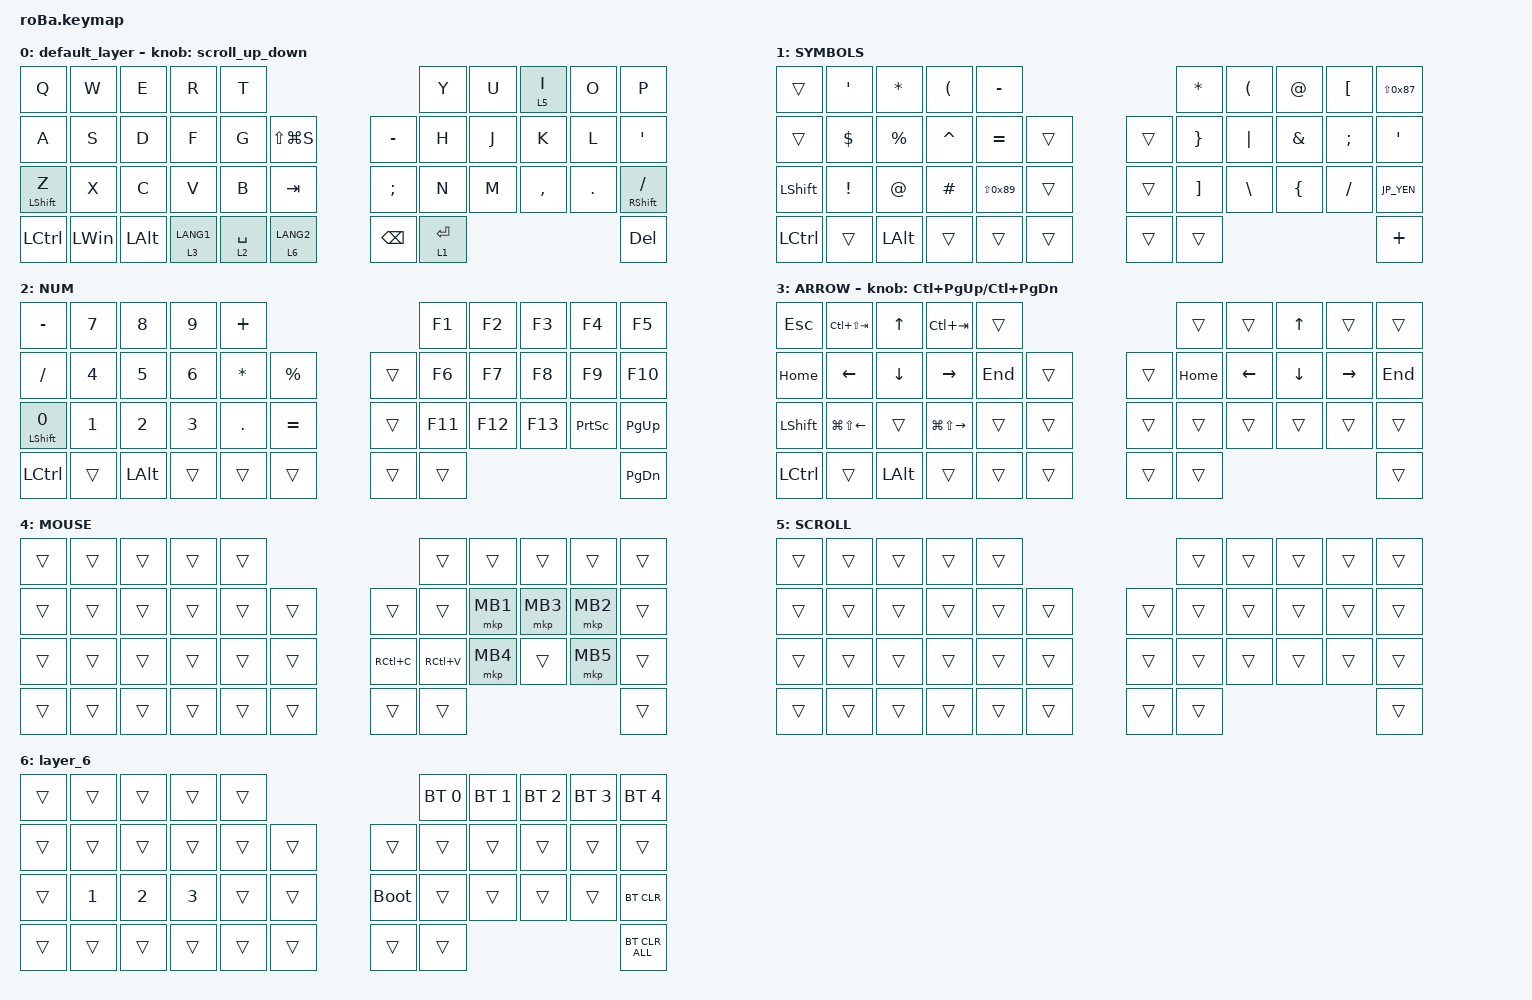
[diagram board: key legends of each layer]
#include <behaviors.dtsi>
#include <dt-bindings/zmk/bt.h>
#include <dt-bindings/zmk/keys.h>
#include <dt-bindings/zmk/pointing.h>

#define ZMK_POINTING_DEFAULT_SCRL_VAL 100

// OS設定を日本語キーボードのまま使用するための変換定義

#define JP_DQUOTE       AT                // "
#define JP_AMPERSAND    CARET             // &
#define JP_QUOTE        AMPERSAND         // '
#define JP_EQUAL        UNDER             // =
#define JP_CARET        EQUAL             // ^
#define JP_YEN          0x89              // ¥
#define JP_PLUS         COLON             // +
#define JP_TILDE        PLUS              // ~
#define JP_PIPE         LS(0x89)          // |
#define JP_AT           LEFT_BRACKET      // @
#define JP_COLON        SINGLE_QUOTE      // :
#define JP_ASTERISK     DOUBLE_QUOTES     // *
#define JP_BACKQUOTE    LEFT_BRACE        // `
#define JP_UNDERSCORE   LS(0x87)          // _
#define JP_LBRACKET     RIGHT_BRACKET     // [
#define JP_RBRACKET     BACKSLASH         // ]
#define JP_LPAREN       ASTERISK          // (
#define JP_RPAREN       LEFT_PARENTHESIS  // )
#define JP_LBRACE       RIGHT_BRACE       // {
#define JP_RBRACE       PIPE              // }
#define JP_KANA         LANGUAGE_1        // かな
#define JP_EISU         LANGUAGE_2        // 英数
#define JP_HANZEN       GRAVE             // 半角/全角

&mt {
    flavor = "balanced";
    quick-tap-ms = <0>;
};

&trackball {
    automouse-layer = <4>;
    scroll-layers = <5>;

    // arrows {
    //     layers = <3>;
    //     bindings =
    //         <&kp RIGHT_ARROW>,
    //         <&kp LEFT_ARROW>,
    //         <&kp UP_ARROW>,
    //         <&kp DOWN_ARROW>;
    //     tick = <10>;
    //     wait-ms = <5>;
    //     tap-ms = <5>;
    // };
};

/ {
    combos {
        compatible = "zmk,combos";

        tab {
            bindings = <&kp TAB>;
            key-positions = <11 12>;
        };

        shift_tab {
            bindings = <&kp LS(TAB)>;
            key-positions = <12 13>;
        };

        muhennkann {
            bindings = <&to_layer_0 INT_MUHENKAN>;
            key-positions = <11 10>;
        };

        double_quotation {
            bindings = <&kp DOUBLE_QUOTES>;
            key-positions = <20 21>;
        };

        eq {
            bindings = <&kp EQUAL>;
            key-positions = <24 25>;
        };

        escape {
            bindings = <&kp ESCAPE>;
            key-positions = <0 1>;
        };
    };

    macros {
        to_layer_0: to_layer_0 {
            compatible = "zmk,behavior-macro-one-param";
            #binding-cells = <1>;
            bindings = <&to 0 &macro_param_1to1 &kp MACRO_PLACEHOLDER>;
            label = "TO_LAYER_0";
        };

        //        mkp_exit_AML: mkp_exit_AML {
        //            compatible = "zmk,behavior-macro-one-param";
        //            #binding-cells = <1>;
        //            bindings =
        //                <&macro_press>,
        //                <&macro_param_1to1 &mkp MACRO_PLACEHOLDER>,
        //                <&macro_pause_for_release>,
        //                <&macro_release>,
        //                <&macro_param_1to1 &mkp MACRO_PLACEHOLDER>,
        //                <&macro_tap>,
        //                <&sl 4>;
        //            label = "MKP_EXIT_AML";
        //        };
        //        parenthesis: parenthesis {
        //            compatible = "zmk,behavior-macro";
        //            #binding-cells = <0>;
        //            bindings = <&kp LANG_HANJA &kp LEFT_PARENTHESIS &kp RIGHT_PARENTHESIS &kp LEFT_ARROW>;
        //            label = "parenthesis";
        //        };
    };

    behaviors {
        lt_to_layer_0: lt_to_layer_0 {
            compatible = "zmk,behavior-hold-tap";
            label = "LAYER_TAP_TO_0";
            bindings = <&mo>, <&to_layer_0>;

            #binding-cells = <2>;
            tapping-term-ms = <200>;
        };

        // 新しいスクロール動作の追加

        scroll_up_down: behavior_sensor_rotate_mouse_wheel_up_down {
            compatible = "zmk,behavior-sensor-rotate";
            #sensor-binding-cells = <0>;
            bindings = <&msc SCRL_DOWN>, <&msc SCRL_UP>;

            // 追加: スクロールのタップ時間を設定 (20ms)

            tap-ms = <20>;
        };
    };

    keymap {
        compatible = "zmk,keymap";

        default_layer {
            bindings = <
&kp Q             &kp W         &kp E         &kp R                   &kp T                                                   &kp Y        &kp U  &lt 5 I    &kp O    &kp P
&kp A             &kp S         &kp D         &kp F                   &kp G        &kp LS(LG(S))               &kp MINUS      &kp H        &kp J  &kp K      &kp L    &kp SQT
&mt LEFT_SHIFT Z  &kp X         &kp C         &kp V                   &kp B        &kp TAB                     &kp SEMICOLON  &kp N        &kp M  &kp COMMA  &kp DOT  &mt RIGHT_SHIFT SLASH
&kp LCTRL         &kp LEFT_WIN  &kp LEFT_ALT  &lt_to_layer_0 3 LANG1  &lt 2 SPACE  &lt_to_layer_0 6 LANG2      &kp BACKSPACE  &lt 1 ENTER                             &kp DEL
            >;

            sensor-bindings = <&scroll_up_down>;
        };

        SYMBOLS {
            bindings = <
&trans          &kp SQT          &kp JP_LPAREN  &kp JP_RPAREN     &kp MINUS                         &kp JP_LPAREN    &kp JP_RPAREN    &kp JP_DQUOTE     &kp JP_AT      &kp JP_UNDERSCORE
&trans          &kp DOLLAR       &kp PERCENT    &kp JP_AMPERSAND  &kp JP_CARET  &trans      &trans  &kp JP_LBRACE    &kp JP_RBRACE    &kp JP_QUOTE      &kp SEMICOLON  &kp JP_COLON
&kp LEFT_SHIFT  &kp EXCLAMATION  &kp JP_DQUOTE  &kp POUND         &kp JP_PIPE   &trans      &trans  &kp JP_LBRACKET  &kp JP_RBRACKET  &kp JP_BACKQUOTE  &kp FSLH       &kp JP_YEN
&kp LCTRL       &trans           &kp LEFT_ALT   &trans            &trans        &trans      &trans  &trans                                                             &kp JP_TILDE
            >;
        };

        NUM {
            bindings = <
&kp MINUS                &kp NUMBER_7  &kp NUMBER_8  &kp NUMBER_9  &kp PLUS                               &kp F1   &kp F2   &kp F3   &kp F4           &kp F5
&kp SLASH                &kp NUMBER_4  &kp NUMBER_5  &kp NUMBER_6  &kp ASTERISK  &kp PERCENT      &trans  &kp F6   &kp F7   &kp F8   &kp F9           &kp F10
&mt LEFT_SHIFT NUMBER_0  &kp NUMBER_1  &kp NUMBER_2  &kp NUMBER_3  &kp PERIOD    &kp EQUAL        &trans  &kp F11  &kp F12  &kp F13  &kp PRINTSCREEN  &kp PAGE_UP
&kp LCTRL                &trans        &kp LEFT_ALT  &trans        &trans        &trans           &trans  &trans                                      &kp PAGE_DOWN
            >;
        };

        ARROW {
            bindings = <
&kp ESCAPE      &kp LC(LS(TAB))         &kp UP_ARROW    &kp LC(TAB)              &trans                       &trans    &trans          &kp UP_ARROW    &trans           &trans
&kp HOME        &kp LEFT_ARROW          &kp DOWN_ARROW  &kp RIGHT_ARROW          &kp END  &trans      &trans  &kp HOME  &kp LEFT_ARROW  &kp DOWN_ARROW  &kp RIGHT_ARROW  &kp END
&kp LEFT_SHIFT  &kp LG(LS(LEFT_ARROW))  &trans          &kp LG(LS(RIGHT_ARROW))  &trans   &trans      &trans  &trans    &trans          &trans          &trans           &trans
&kp LCTRL       &trans                  &kp LEFT_ALT    &trans                   &trans   &trans      &trans  &trans                                                     &trans
            >;

            sensor-bindings = <&inc_dec_kp LC(PAGE_UP) LC(PAGE_DOWN)>;
        };

        MOUSE {
            bindings = <
&trans  &trans  &trans  &trans  &trans                         &trans     &trans    &trans    &trans    &trans
&trans  &trans  &trans  &trans  &trans  &trans      &trans     &trans     &mkp MB1  &mkp MB3  &mkp MB2  &trans
&trans  &trans  &trans  &trans  &trans  &trans      &kp RC(C)  &kp RC(V)  &mkp MB4  &trans    &mkp MB5  &trans
&trans  &trans  &trans  &trans  &trans  &trans      &trans     &trans                                   &trans
            >;
        };

        SCROLL {
            bindings = <
&trans  &trans  &trans  &trans  &trans                      &trans  &trans  &trans  &trans  &trans
&trans  &trans  &trans  &trans  &trans  &trans      &trans  &trans  &trans  &trans  &trans  &trans
&trans  &trans  &trans  &trans  &trans  &trans      &trans  &trans  &trans  &trans  &trans  &trans
&trans  &trans  &trans  &trans  &trans  &trans      &trans  &trans                          &trans
            >;
        };

        layer_6 {
            bindings = <
&trans  &trans        &trans        &trans        &trans                           &bt BT_SEL 0  &bt BT_SEL 1  &bt BT_SEL 2  &bt BT_SEL 3  &bt BT_SEL 4
&trans  &trans        &trans        &trans        &trans  &trans      &trans       &trans        &trans        &trans        &trans        &trans
&trans  &kp NUMBER_1  &kp NUMBER_2  &kp NUMBER_3  &trans  &trans      &bootloader  &trans        &trans        &trans        &trans        &bt BT_CLR
&trans  &trans        &trans        &trans        &trans  &trans      &trans       &trans                                                  &bt BT_CLR_ALL
            >;
        };
    };
};
